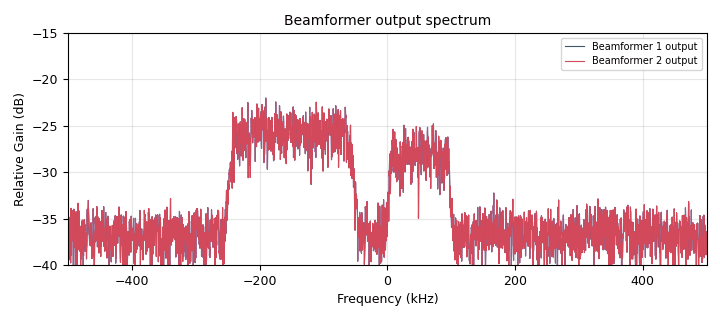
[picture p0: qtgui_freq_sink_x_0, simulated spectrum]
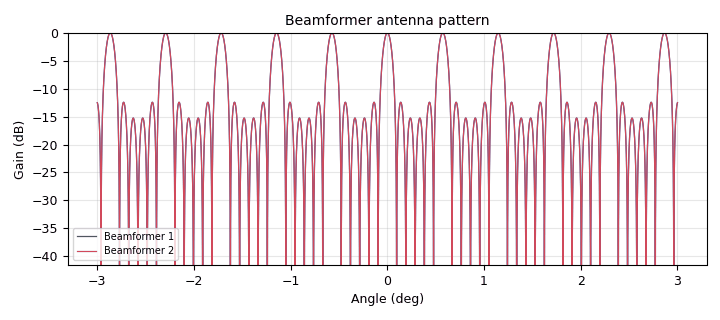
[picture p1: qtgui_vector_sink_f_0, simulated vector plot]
options:
  parameters:
    author: Daniel Estevez
    generate_options: qt_gui
    id: beamformer_array_demo
    output_language: python
    title: Beamformer array demo
  states: {}

blocks:
- name: antenna_pattern
  id: variable
  parameters:
    value: 20*np.log10(1/num_antennas * np.abs(np.sum([np.exp(1j * k * 2 * np.pi * antenna_separation * (np.sin(np.deg2rad(antenna_pattern_deg)) - np.sin(np.deg2rad(beamforming_angle)))) for k in range(num_antennas)], axis=0)))
  states: {}
- name: antenna_pattern2
  id: variable
  parameters:
    value: 20*np.log10(1/num_antennas * np.abs(np.sum([np.exp(1j * k * 2 * np.pi * antenna_separation * (np.sin(np.deg2rad(antenna_pattern_deg)) - np.sin(np.deg2rad(beamforming_angle2)))) for k in range(num_antennas)], axis=0)))
  states: {}
- name: antenna_pattern_deg
  id: variable
  parameters:
    value: np.linspace(-3, 3, 2**16, endpoint=True)
  states: {}
- name: antenna_separation
  id: variable
  parameters:
    comment: This is in wavelength units
    value: '100'
  states: {}
- name: beamforming_angle
  id: variable_qtgui_entry
  parameters:
    gui_hint: 6,0,1,1
    label: Beamforming angle (deg)
    type: real
    value: '0'
  states: {}
- name: beamforming_angle2
  id: variable_qtgui_entry
  parameters:
    gui_hint: 6,1,1,1
    label: Beamforming angle 2 (deg)
    type: real
    value: '0'
  states: {}
- name: num_antennas
  id: variable
  parameters:
    value: '6'
  states: {}
- name: samp_rate
  id: variable
  parameters:
    value: '1000000'
  states: {}
- name: signal_angle
  id: variable_qtgui_entry
  parameters:
    gui_hint: 5,0,1,1
    label: Signal 1 angle (deg)
    type: real
    value: '0'
  states: {}
- name: signal_angle2
  id: variable_qtgui_entry
  parameters:
    gui_hint: 5,1,1,1
    label: Signal 2 angle (deg)
    type: real
    value: '0'
  states: {}
- name: wideband_bandwidth
  id: variable_qtgui_entry
  parameters:
    gui_hint: 4,0,1,1
    label: Signal 1 bandwidth (kHz)
    type: real
    value: '100'
  states: {}
- name: wideband_bandwidth2
  id: variable_qtgui_entry
  parameters:
    gui_hint: 4,1,1,1
    label: Signal 2 bandwidth (kHz)
    type: real
    value: '200'
  states: {}
- name: wideband_frequency
  id: variable_qtgui_entry
  parameters:
    gui_hint: 3,0,1,1
    label: Signal 1 frequency (kHz)
    type: real
    value: '50'
  states: {}
- name: wideband_frequency2
  id: variable_qtgui_entry
  parameters:
    gui_hint: 3,1,1,1
    label: Signal 2 frequency (kHz)
    type: real
    value: '-150'
  states: {}
- name: wideband_snr
  id: variable_qtgui_entry
  parameters:
    gui_hint: 2,0,1,1
    label: Signal 1 SNR (dB)
    type: real
    value: '0'
  states: {}
- name: wideband_snr2
  id: variable_qtgui_entry
  parameters:
    gui_hint: 2,1,1,1
    label: Signal 2 SNR (dB)
    type: real
    value: '3'
  states: {}
- name: analog_noise_source_x_0
  id: analog_noise_source_x
  parameters:
    amp: '1'
    noise_type: analog.GR_GAUSSIAN
    seed: '0'
    type: complex
  states: {}
- name: analog_noise_source_x_0_0
  id: analog_noise_source_x
  parameters:
    amp: '1'
    noise_type: analog.GR_GAUSSIAN
    seed: '1'
    type: complex
  states: {}
- name: analog_noise_source_x_0_1
  id: analog_noise_source_x
  parameters:
    amp: '1'
    noise_type: analog.GR_GAUSSIAN
    seed: '2'
    type: complex
  states: {}
- name: analog_noise_source_x_0_2
  id: analog_noise_source_x
  parameters:
    amp: '1'
    noise_type: analog.GR_GAUSSIAN
    seed: '3'
    type: complex
  states: {}
- name: analog_noise_source_x_0_3
  id: analog_noise_source_x
  parameters:
    amp: '1'
    noise_type: analog.GR_GAUSSIAN
    seed: '4'
    type: complex
  states: {}
- name: analog_noise_source_x_0_4
  id: analog_noise_source_x
  parameters:
    amp: '1'
    noise_type: analog.GR_GAUSSIAN
    seed: '5'
    type: complex
  states: {}
- name: analog_noise_source_x_1
  id: analog_noise_source_x
  parameters:
    amp: np.sqrt(10**(wideband_snr/10.0)/(samp_rate/(wideband_bandwidth*1e3)))
    noise_type: analog.GR_GAUSSIAN
    seed: '100'
    type: complex
  states: {}
- name: analog_noise_source_x_1_0
  id: analog_noise_source_x
  parameters:
    amp: np.sqrt(10**(wideband_snr2/10.0)/(samp_rate/(wideband_bandwidth2*1e3)))
    noise_type: analog.GR_GAUSSIAN
    seed: '101'
    type: complex
  states: {}
- name: analog_sig_source_x_0
  id: analog_sig_source_x
  parameters:
    amp: '1'
    freq: wideband_frequency*1e3
    offset: '0'
    phase: '0'
    samp_rate: samp_rate
    type: complex
    waveform: analog.GR_COS_WAVE
  states: {}
- name: analog_sig_source_x_0_0
  id: analog_sig_source_x
  parameters:
    amp: '1'
    freq: wideband_frequency2*1e3
    offset: '0'
    phase: '0'
    samp_rate: samp_rate
    type: complex
    waveform: analog.GR_COS_WAVE
  states: {}
- name: blocks_add_xx_0
  id: blocks_add_xx
  parameters:
    num_inputs: '3'
    type: complex
  states: {}
- name: blocks_add_xx_0_0
  id: blocks_add_xx
  parameters:
    num_inputs: '3'
    type: complex
  states: {}
- name: blocks_add_xx_0_1
  id: blocks_add_xx
  parameters:
    num_inputs: '3'
    type: complex
  states: {}
- name: blocks_add_xx_0_2
  id: blocks_add_xx
  parameters:
    num_inputs: '3'
    type: complex
  states: {}
- name: blocks_add_xx_0_3
  id: blocks_add_xx
  parameters:
    num_inputs: '3'
    type: complex
  states: {}
- name: blocks_add_xx_0_4
  id: blocks_add_xx
  parameters:
    num_inputs: '3'
    type: complex
  states: {}
- name: blocks_add_xx_1
  id: blocks_add_xx
  parameters:
    num_inputs: '6'
    type: complex
  states: {}
- name: blocks_add_xx_1_0
  id: blocks_add_xx
  parameters:
    num_inputs: '6'
    type: complex
  states: {}
- name: blocks_multiply_xx_0
  id: blocks_multiply_xx
  parameters:
    type: complex
  states: {}
- name: blocks_multiply_xx_0_0
  id: blocks_multiply_xx
  parameters:
    type: complex
  states: {}
- name: blocks_phase_shift_0
  id: blocks_phase_shift
  parameters:
    is_radians: 'True'
    shift: 0 * 2 * np.pi * antenna_separation * np.sin(np.deg2rad(signal_angle))
  states: {}
- name: blocks_phase_shift_0_0
  id: blocks_phase_shift
  parameters:
    is_radians: 'True'
    shift: '-0 * 2 * np.pi * antenna_separation * np.sin(np.deg2rad(beamforming_angle))'
  states: {}
- name: blocks_phase_shift_0_0_0
  id: blocks_phase_shift
  parameters:
    is_radians: 'True'
    shift: '-0 * 2 * np.pi * antenna_separation * np.sin(np.deg2rad(beamforming_angle2))'
  states: {}
- name: blocks_phase_shift_0_0_0_0
  id: blocks_phase_shift
  parameters:
    is_radians: 'True'
    shift: '-1 * 2 * np.pi * antenna_separation * np.sin(np.deg2rad(beamforming_angle2))'
  states: {}
- name: blocks_phase_shift_0_0_0_1
  id: blocks_phase_shift
  parameters:
    is_radians: 'True'
    shift: '-2 * 2 * np.pi * antenna_separation * np.sin(np.deg2rad(beamforming_angle2))'
  states: {}
- name: blocks_phase_shift_0_0_0_2
  id: blocks_phase_shift
  parameters:
    is_radians: 'True'
    shift: '-3 * 2 * np.pi * antenna_separation * np.sin(np.deg2rad(beamforming_angle2))'
  states: {}
- name: blocks_phase_shift_0_0_0_3
  id: blocks_phase_shift
  parameters:
    is_radians: 'True'
    shift: '-4 * 2 * np.pi * antenna_separation * np.sin(np.deg2rad(beamforming_angle2))'
  states: {}
- name: blocks_phase_shift_0_0_0_4
  id: blocks_phase_shift
  parameters:
    is_radians: 'True'
    shift: '-4 * 2 * np.pi * antenna_separation * np.sin(np.deg2rad(beamforming_angle2))'
  states: {}
- name: blocks_phase_shift_0_0_1
  id: blocks_phase_shift
  parameters:
    is_radians: 'True'
    shift: '-1 * 2 * np.pi * antenna_separation * np.sin(np.deg2rad(beamforming_angle))'
  states: {}
- name: blocks_phase_shift_0_0_2
  id: blocks_phase_shift
  parameters:
    is_radians: 'True'
    shift: '-2 * 2 * np.pi * antenna_separation * np.sin(np.deg2rad(beamforming_angle))'
  states: {}
- name: blocks_phase_shift_0_0_3
  id: blocks_phase_shift
  parameters:
    is_radians: 'True'
    shift: '-3 * 2 * np.pi * antenna_separation * np.sin(np.deg2rad(beamforming_angle))'
  states: {}
- name: blocks_phase_shift_0_0_4
  id: blocks_phase_shift
  parameters:
    is_radians: 'True'
    shift: '-4 * 2 * np.pi * antenna_separation * np.sin(np.deg2rad(beamforming_angle))'
  states: {}
- name: blocks_phase_shift_0_0_5
  id: blocks_phase_shift
  parameters:
    is_radians: 'True'
    shift: '-4 * 2 * np.pi * antenna_separation * np.sin(np.deg2rad(beamforming_angle))'
  states: {}
- name: blocks_phase_shift_0_1
  id: blocks_phase_shift
  parameters:
    is_radians: 'True'
    shift: 0 * 2 * np.pi * antenna_separation * np.sin(np.deg2rad(signal_angle2))
  states: {}
- name: blocks_phase_shift_0_1_0
  id: blocks_phase_shift
  parameters:
    is_radians: 'True'
    shift: 1 * 2 * np.pi * antenna_separation * np.sin(np.deg2rad(signal_angle2))
  states: {}
- name: blocks_phase_shift_0_1_1
  id: blocks_phase_shift
  parameters:
    is_radians: 'True'
    shift: 2 * 2 * np.pi * antenna_separation * np.sin(np.deg2rad(signal_angle2))
  states: {}
- name: blocks_phase_shift_0_1_2
  id: blocks_phase_shift
  parameters:
    is_radians: 'True'
    shift: 3 * 2 * np.pi * antenna_separation * np.sin(np.deg2rad(signal_angle2))
  states: {}
- name: blocks_phase_shift_0_1_3
  id: blocks_phase_shift
  parameters:
    is_radians: 'True'
    shift: 4 * 2 * np.pi * antenna_separation * np.sin(np.deg2rad(signal_angle2))
  states: {}
- name: blocks_phase_shift_0_1_4
  id: blocks_phase_shift
  parameters:
    is_radians: 'True'
    shift: 4 * 2 * np.pi * antenna_separation * np.sin(np.deg2rad(signal_angle2))
  states: {}
- name: blocks_phase_shift_0_2
  id: blocks_phase_shift
  parameters:
    is_radians: 'True'
    shift: 1 * 2 * np.pi * antenna_separation * np.sin(np.deg2rad(signal_angle))
  states: {}
- name: blocks_phase_shift_0_3
  id: blocks_phase_shift
  parameters:
    is_radians: 'True'
    shift: 2 * 2 * np.pi * antenna_separation * np.sin(np.deg2rad(signal_angle))
  states: {}
- name: blocks_phase_shift_0_4
  id: blocks_phase_shift
  parameters:
    is_radians: 'True'
    shift: 3 * 2 * np.pi * antenna_separation * np.sin(np.deg2rad(signal_angle))
  states: {}
- name: blocks_phase_shift_0_5
  id: blocks_phase_shift
  parameters:
    is_radians: 'True'
    shift: 4 * 2 * np.pi * antenna_separation * np.sin(np.deg2rad(signal_angle))
  states: {}
- name: blocks_phase_shift_0_6
  id: blocks_phase_shift
  parameters:
    is_radians: 'True'
    shift: 4 * 2 * np.pi * antenna_separation * np.sin(np.deg2rad(signal_angle))
  states: {}
- name: blocks_throttle2_0
  id: blocks_throttle2
  parameters:
    samples_per_second: samp_rate
    type: complex
  states: {}
- name: blocks_throttle2_1
  id: blocks_throttle2
  parameters:
    samples_per_second: '100'
    type: float
    vlen: len(antenna_pattern)
  states: {}
- name: blocks_vector_source_x_0
  id: blocks_vector_source_x
  parameters:
    repeat: 'True'
    type: float
    vector: antenna_pattern
    vlen: len(antenna_pattern)
  states: {}
- name: blocks_vector_source_x_0_0
  id: blocks_vector_source_x
  parameters:
    repeat: 'True'
    type: float
    vector: antenna_pattern2
    vlen: len(antenna_pattern)
  states: {}
- name: import_0
  id: import
  parameters:
    imports: import numpy as np
  states: {}
- name: note_0
  id: note
  parameters:
    note: Antenna 1
  states: {}
- name: note_0_0
  id: note
  parameters:
    note: Antenna 2
  states: {}
- name: note_0_1
  id: note
  parameters:
    note: Antenna 3
  states: {}
- name: note_0_2
  id: note
  parameters:
    note: Antenna 4
  states: {}
- name: note_0_3
  id: note
  parameters:
    note: Antenna 5
  states: {}
- name: note_0_4
  id: note
  parameters:
    note: Antenna 6
  states: {}
- name: pfb_arb_resampler_xxx_0
  id: pfb_arb_resampler_xxx
  parameters:
    atten: '100'
    nfilts: '32'
    rrate: samp_rate/(wideband_bandwidth*1e3)
    type: ccf
  states: {}
- name: pfb_arb_resampler_xxx_0_0
  id: pfb_arb_resampler_xxx
  parameters:
    atten: '100'
    nfilts: '32'
    rrate: samp_rate/(wideband_bandwidth2*1e3)
    type: ccf
  states: {}
- name: qtgui_freq_sink_x_0
  id: qtgui_freq_sink_x
  parameters:
    average: '0.1'
    bw: samp_rate
    fc: '0'
    fftsize: '4096'
    gui_hint: 0,0,1,2
    label1: Beamformer 1 output
    label2: Beamformer 2 output
    name: Beamformer output spectrum
    nconnections: '2'
    type: complex
    ymax: '-15'
    ymin: '-40'
  states: {}
- name: qtgui_vector_sink_f_0
  id: qtgui_vector_sink_f
  parameters:
    gui_hint: 1,0,1,2
    label1: Beamformer 1
    label2: Beamformer 2
    name: Beamformer antenna pattern
    nconnections: '2'
    vlen: len(antenna_pattern)
    x_axis_label: '"Angle (deg)"'
    x_start: antenna_pattern_deg[0]
    x_step: antenna_pattern_deg[1] - antenna_pattern_deg[0]
    x_units: '"deg"'
    y_axis_label: '"Gain (dB)"'
    y_units: '"dB"'
    ymax: '0'
    ymin: '-40'
  states: {}
- name: virtual_sink_0
  id: virtual_sink
  parameters:
    stream_id: astro_signal
  states: {}
- name: virtual_sink_0_0
  id: virtual_sink
  parameters:
    stream_id: astro_signal2
  states: {}
- name: virtual_source_0
  id: virtual_source
  parameters:
    stream_id: astro_signal
  states: {}
- name: virtual_source_0_0
  id: virtual_source
  parameters:
    stream_id: astro_signal2
  states: {}
- name: virtual_source_0_0_0
  id: virtual_source
  parameters:
    stream_id: astro_signal2
  states: {}
- name: virtual_source_0_0_1
  id: virtual_source
  parameters:
    stream_id: astro_signal2
  states: {}
- name: virtual_source_0_0_2
  id: virtual_source
  parameters:
    stream_id: astro_signal2
  states: {}
- name: virtual_source_0_0_3
  id: virtual_source
  parameters:
    stream_id: astro_signal2
  states: {}
- name: virtual_source_0_0_4
  id: virtual_source
  parameters:
    stream_id: astro_signal2
  states: {}
- name: virtual_source_0_1
  id: virtual_source
  parameters:
    stream_id: astro_signal
  states: {}
- name: virtual_source_0_2
  id: virtual_source
  parameters:
    stream_id: astro_signal
  states: {}
- name: virtual_source_0_3
  id: virtual_source
  parameters:
    stream_id: astro_signal
  states: {}
- name: virtual_source_0_4
  id: virtual_source
  parameters:
    stream_id: astro_signal
  states: {}
- name: virtual_source_0_5
  id: virtual_source
  parameters:
    stream_id: astro_signal
  states: {}

connections:
- [analog_noise_source_x_0, '0', blocks_add_xx_0, '2']
- [analog_noise_source_x_0_0, '0', blocks_add_xx_0_0, '2']
- [analog_noise_source_x_0_1, '0', blocks_add_xx_0_1, '2']
- [analog_noise_source_x_0_2, '0', blocks_add_xx_0_2, '2']
- [analog_noise_source_x_0_3, '0', blocks_add_xx_0_3, '2']
- [analog_noise_source_x_0_4, '0', blocks_add_xx_0_4, '2']
- [analog_noise_source_x_1, '0', pfb_arb_resampler_xxx_0, '0']
- [analog_noise_source_x_1_0, '0', pfb_arb_resampler_xxx_0_0, '0']
- [analog_sig_source_x_0, '0', blocks_multiply_xx_0, '1']
- [analog_sig_source_x_0_0, '0', blocks_multiply_xx_0_0, '1']
- [blocks_add_xx_0, '0', blocks_phase_shift_0_0, '0']
- [blocks_add_xx_0, '0', blocks_phase_shift_0_0_0, '0']
- [blocks_add_xx_0_0, '0', blocks_phase_shift_0_0_0_0, '0']
- [blocks_add_xx_0_0, '0', blocks_phase_shift_0_0_1, '0']
- [blocks_add_xx_0_1, '0', blocks_phase_shift_0_0_0_1, '0']
- [blocks_add_xx_0_1, '0', blocks_phase_shift_0_0_2, '0']
- [blocks_add_xx_0_2, '0', blocks_phase_shift_0_0_0_2, '0']
- [blocks_add_xx_0_2, '0', blocks_phase_shift_0_0_3, '0']
- [blocks_add_xx_0_3, '0', blocks_phase_shift_0_0_0_3, '0']
- [blocks_add_xx_0_3, '0', blocks_phase_shift_0_0_4, '0']
- [blocks_add_xx_0_4, '0', blocks_phase_shift_0_0_0_4, '0']
- [blocks_add_xx_0_4, '0', blocks_phase_shift_0_0_5, '0']
- [blocks_add_xx_1, '0', qtgui_freq_sink_x_0, '0']
- [blocks_add_xx_1_0, '0', qtgui_freq_sink_x_0, '1']
- [blocks_multiply_xx_0, '0', blocks_throttle2_0, '0']
- [blocks_multiply_xx_0_0, '0', virtual_sink_0_0, '0']
- [blocks_phase_shift_0, '0', blocks_add_xx_0, '0']
- [blocks_phase_shift_0_0, '0', blocks_add_xx_1, '0']
- [blocks_phase_shift_0_0_0, '0', blocks_add_xx_1_0, '0']
- [blocks_phase_shift_0_0_0_0, '0', blocks_add_xx_1_0, '1']
- [blocks_phase_shift_0_0_0_1, '0', blocks_add_xx_1_0, '2']
- [blocks_phase_shift_0_0_0_2, '0', blocks_add_xx_1_0, '3']
- [blocks_phase_shift_0_0_0_3, '0', blocks_add_xx_1_0, '4']
- [blocks_phase_shift_0_0_0_4, '0', blocks_add_xx_1_0, '5']
- [blocks_phase_shift_0_0_1, '0', blocks_add_xx_1, '1']
- [blocks_phase_shift_0_0_2, '0', blocks_add_xx_1, '2']
- [blocks_phase_shift_0_0_3, '0', blocks_add_xx_1, '3']
- [blocks_phase_shift_0_0_4, '0', blocks_add_xx_1, '4']
- [blocks_phase_shift_0_0_5, '0', blocks_add_xx_1, '5']
- [blocks_phase_shift_0_1, '0', blocks_add_xx_0, '1']
- [blocks_phase_shift_0_1_0, '0', blocks_add_xx_0_0, '1']
- [blocks_phase_shift_0_1_1, '0', blocks_add_xx_0_1, '1']
- [blocks_phase_shift_0_1_2, '0', blocks_add_xx_0_2, '1']
- [blocks_phase_shift_0_1_3, '0', blocks_add_xx_0_3, '1']
- [blocks_phase_shift_0_1_4, '0', blocks_add_xx_0_4, '1']
- [blocks_phase_shift_0_2, '0', blocks_add_xx_0_0, '0']
- [blocks_phase_shift_0_3, '0', blocks_add_xx_0_1, '0']
- [blocks_phase_shift_0_4, '0', blocks_add_xx_0_2, '0']
- [blocks_phase_shift_0_5, '0', blocks_add_xx_0_3, '0']
- [blocks_phase_shift_0_6, '0', blocks_add_xx_0_4, '0']
- [blocks_throttle2_0, '0', virtual_sink_0, '0']
- [blocks_throttle2_1, '0', qtgui_vector_sink_f_0, '0']
- [blocks_vector_source_x_0, '0', blocks_throttle2_1, '0']
- [blocks_vector_source_x_0_0, '0', qtgui_vector_sink_f_0, '1']
- [pfb_arb_resampler_xxx_0, '0', blocks_multiply_xx_0, '0']
- [pfb_arb_resampler_xxx_0_0, '0', blocks_multiply_xx_0_0, '0']
- [virtual_source_0, '0', blocks_phase_shift_0, '0']
- [virtual_source_0_0, '0', blocks_phase_shift_0_1, '0']
- [virtual_source_0_0_0, '0', blocks_phase_shift_0_1_0, '0']
- [virtual_source_0_0_1, '0', blocks_phase_shift_0_1_1, '0']
- [virtual_source_0_0_2, '0', blocks_phase_shift_0_1_2, '0']
- [virtual_source_0_0_3, '0', blocks_phase_shift_0_1_3, '0']
- [virtual_source_0_0_4, '0', blocks_phase_shift_0_1_4, '0']
- [virtual_source_0_1, '0', blocks_phase_shift_0_2, '0']
- [virtual_source_0_2, '0', blocks_phase_shift_0_3, '0']
- [virtual_source_0_3, '0', blocks_phase_shift_0_4, '0']
- [virtual_source_0_4, '0', blocks_phase_shift_0_5, '0']
- [virtual_source_0_5, '0', blocks_phase_shift_0_6, '0']

metadata:
  file_format: 1
  grc_version: 3.10.12.0
